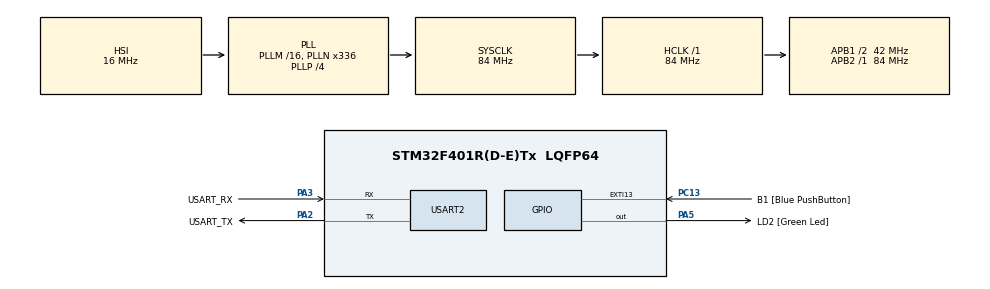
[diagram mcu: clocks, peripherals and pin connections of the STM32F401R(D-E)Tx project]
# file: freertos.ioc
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Mcu.Family=STM32F4
Mcu.Name=STM32F401R(D-E)Tx
Mcu.Package=LQFP64
NVIC.PriorityGroup=NVIC_PRIORITYGROUP_4
NVIC.TIM2_IRQn=true\:15\:0\:false\:false\:true\:false\:true\:true
NVIC.TimeBase=TIM2_IRQn
NVIC.TimeBaseIP=TIM2
NVIC.USART2_IRQn=true\:6\:0\:true\:false\:true\:true\:true\:true
PA13.GPIO_Label=TMS
PA13.Mode=Trace_Asynchronous_SW
PA13.Signal=SYS_JTMS-SWDIO
PA14.GPIO_Label=TCK
PA14.Mode=Trace_Asynchronous_SW
PA14.Signal=SYS_JTCK-SWCLK
PA2.GPIO_Label=USART_TX
PA2.GPIO_Mode=GPIO_MODE_AF_PP
PA2.GPIO_PuPd=GPIO_NOPULL
PA2.GPIO_Speed=GPIO_SPEED_FREQ_LOW
PA2.Mode=Asynchronous
PA2.Signal=USART2_TX
PA3.GPIO_Label=USART_RX
PA3.GPIO_Mode=GPIO_MODE_AF_PP
PA3.GPIO_PuPd=GPIO_NOPULL
PA3.GPIO_Speed=GPIO_SPEED_FREQ_LOW
PA3.Mode=Asynchronous
PA3.Signal=USART2_RX
PA5.GPIO_Label=LD2 [Green Led]
PA5.GPIO_Mode=GPIO_MODE_OUTPUT_PP
PA5.GPIO_PuPd=GPIO_NOPULL
PA5.GPIO_Speed=GPIO_SPEED_FREQ_LOW
PA5.Signal=GPIO_Output
PB3.GPIO_Label=SWO
PB3.Mode=Trace_Asynchronous_SW
PB3.Signal=SYS_JTDO-SWO
PC13-ANTI_TAMP.GPIO_Label=B1 [Blue PushButton]
PC13-ANTI_TAMP.GPIO_ModeDefaultEXTI=GPIO_MODE_IT_FALLING
PC13-ANTI_TAMP.GPIO_PuPd=GPIO_NOPULL
PC13-ANTI_TAMP.Signal=GPXTI13
PC14-OSC32_IN.Mode=LSE-External-Oscillator
PC14-OSC32_IN.Signal=RCC_OSC32_IN
PC15-OSC32_OUT.Mode=LSE-External-Oscillator
PC15-OSC32_OUT.Signal=RCC_OSC32_OUT
PH0\ -\ OSC_IN.Mode=HSE-External-Clock-Source
PH0\ -\ OSC_IN.Signal=RCC_OSC_IN
PH1\ -\ OSC_OUT.Mode=HSE-External-Clock-Source
PH1\ -\ OSC_OUT.Signal=RCC_OSC_OUT
ProjectManager.HeapSize=0x200
ProjectManager.StackSize=0x400
ProjectManager.TargetToolchain=CMake
RCC.48MHZClocksFreq_Value=48000000
RCC.AHBFreq_Value=84000000
RCC.APB1CLKDivider=RCC_HCLK_DIV2
RCC.APB1Freq_Value=42000000
RCC.APB1TimFreq_Value=84000000
RCC.APB2Freq_Value=84000000
RCC.APB2TimFreq_Value=84000000
RCC.CortexFreq_Value=84000000
RCC.HCLKFreq_Value=84000000
RCC.HSE_VALUE=8000000
RCC.HSI_VALUE=16000000
RCC.PLLN=336
RCC.PLLP=RCC_PLLP_DIV4
RCC.PLLQ=7
RCC.SYSCLKFreq_VALUE=84000000
RCC.SYSCLKSource=RCC_SYSCLKSOURCE_PLLCLK
RCC.VCOOutputFreq_Value=336000000
RTC.HourFormat=RTC_HOURFORMAT_12
USART2.VirtualMode=VM_ASYNC
VP_RTC_VS_RTC_Activate.Mode=RTC_Enabled
VP_SYS_VS_tim2.Mode=TIM2
board=NUCLEO-F401RE

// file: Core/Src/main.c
/* USER CODE BEGIN Header */
/**
  ******************************************************************************
  * @file           : main.c
  * @brief          : Main program body
  ******************************************************************************
  * @attention
  *
  * Copyright (c) 2025 STMicroelectronics.
  * All rights reserved.
  *
  * This software is licensed under terms that can be found in the LICENSE file
  * in the root directory of this software component.
  * If no LICENSE file comes with this software, it is provided AS-IS.
  *
  ******************************************************************************
  */
/* USER CODE END Header */
#include "main.h"

/* USER CODE BEGIN Includes */

/* USER CODE BEGIN PD */
#define DWT_CTRL    (*(volatile uint32_t*)0xE0001000)
/* USER CODE END PD */

RTC_HandleTypeDef hrtc;

UART_HandleTypeDef huart2;

void SystemClock_Config(void);
static void MX_GPIO_Init(void);
static void MX_USART2_UART_Init(void);
static void MX_RTC_Init(void);
/* USER CODE BEGIN PFP */
void LED_callback(TimerHandle_t xTimer);
/* USER CODE END PFP */

/* USER CODE BEGIN 0 */
TaskHandle_t handle_menu_task = NULL;
TaskHandle_t handle_cmd_task = NULL;
TaskHandle_t handle_print_task = NULL;
TaskHandle_t handle_LED_task = NULL;
TaskHandle_t handle_RTC_task = NULL;

QueueHandle_t xQueue1, xQueue2;
TimerHandle_t xTimers[ NUM_TIMERS ];

volatile uint8_t data;
state_t curr_state = MainMenu;
/* USER CODE END 0 */

int main(void)
{

  /* MCU Configuration--------------------------------------------------------*/

  /* Reset of all peripherals, Initializes the Flash interface and the Systick. */
  HAL_Init();

  /* Configure the system clock */
  SystemClock_Config();

  /* Initialize all configured peripherals */
  MX_GPIO_Init();
  MX_USART2_UART_Init();
  MX_RTC_Init();
  /* USER CODE BEGIN 2 */
  DWT_CTRL |= ( 1 << 0);

  UBaseType_t priority = 1;
  BaseType_t xReturned;

  SEGGER_SYSVIEW_Conf();     //used with OS integration to allow easier initialization of SystemView and the OS SystemView interface.
  SEGGER_SYSVIEW_Start();

  xReturned = xTaskCreate(menu_task,"menu_task",100,NULL,priority,&handle_menu_task);
  configASSERT (xReturned == pdPASS);
  xReturned = xTaskCreate(cmd_task,"cmd_task",100,NULL,priority,&handle_cmd_task);
  configASSERT (xReturned == pdPASS);
  xReturned = xTaskCreate(print_task,"print_task",100,NULL,priority,&handle_print_task);
  configASSERT (xReturned == pdPASS);
  xReturned = xTaskCreate(LED_task,"LED_task",100,NULL,priority,&handle_LED_task);
  configASSERT (xReturned == pdPASS);
  xReturned = xTaskCreate(RTC_task,"RTC_task",100,NULL,priority,&handle_RTC_task);
  configASSERT (xReturned == pdPASS);

  xQueue1 = xQueueCreate(10, sizeof( char ));
  configASSERT(xQueue1 != NULL);
  xQueue2 = xQueueCreate(10, sizeof(char*)); //queue to hold pointer to items
  configASSERT(xQueue2 != NULL);

  for (uint8_t i=0; i<NUM_TIMERS; i++)
  {
    xTimers[i] = xTimerCreate("LED_timer", 900*i+100, pdTRUE,(void*)(i+1), LED_callback);
  }

  HAL_UART_Receive_IT(&huart2,(uint8_t*)&data, 1);
  vTaskStartScheduler();
  /* USER CODE END 2 */

  /* Infinite loop */
  while (1)
  {
  }
}

void SystemClock_Config(void)
{
  RCC_OscInitTypeDef RCC_OscInitStruct = {0};
  RCC_ClkInitTypeDef RCC_ClkInitStruct = {0};

  /** Configure the main internal regulator output voltage
  */
  __HAL_RCC_PWR_CLK_ENABLE();
  __HAL_PWR_VOLTAGESCALING_CONFIG(PWR_REGULATOR_VOLTAGE_SCALE2);

  /** Initializes the RCC Oscillators according to the specified parameters
  * in the RCC_OscInitTypeDef structure.
  */
  RCC_OscInitStruct.OscillatorType = RCC_OSCILLATORTYPE_HSI|RCC_OSCILLATORTYPE_LSI;
  RCC_OscInitStruct.HSIState = RCC_HSI_ON;
  RCC_OscInitStruct.HSICalibrationValue = RCC_HSICALIBRATION_DEFAULT;
  RCC_OscInitStruct.LSIState = RCC_LSI_ON;
  RCC_OscInitStruct.PLL.PLLState = RCC_PLL_ON;
  RCC_OscInitStruct.PLL.PLLSource = RCC_PLLSOURCE_HSI;
  RCC_OscInitStruct.PLL.PLLM = 16;
  RCC_OscInitStruct.PLL.PLLN = 336;
  RCC_OscInitStruct.PLL.PLLP = RCC_PLLP_DIV4;
  RCC_OscInitStruct.PLL.PLLQ = 7;
  if (HAL_RCC_OscConfig(&RCC_OscInitStruct) != HAL_OK)
  {
    Error_Handler();
  }

  /** Initializes the CPU, AHB and APB buses clocks
  */
  RCC_ClkInitStruct.ClockType = RCC_CLOCKTYPE_HCLK|RCC_CLOCKTYPE_SYSCLK
                              |RCC_CLOCKTYPE_PCLK1|RCC_CLOCKTYPE_PCLK2;
  RCC_ClkInitStruct.SYSCLKSource = RCC_SYSCLKSOURCE_PLLCLK;
  RCC_ClkInitStruct.AHBCLKDivider = RCC_SYSCLK_DIV1;
  RCC_ClkInitStruct.APB1CLKDivider = RCC_HCLK_DIV2;
  RCC_ClkInitStruct.APB2CLKDivider = RCC_HCLK_DIV1;

  if (HAL_RCC_ClockConfig(&RCC_ClkInitStruct, FLASH_LATENCY_2) != HAL_OK)
  {
    Error_Handler();
  }
}

static void MX_RTC_Init(void)
{

  /** Initialize RTC Only
  */
  hrtc.Instance = RTC;
  hrtc.Init.HourFormat = RTC_HOURFORMAT_12;
  hrtc.Init.AsynchPrediv = 127;
  hrtc.Init.SynchPrediv = 255;
  hrtc.Init.OutPut = RTC_OUTPUT_DISABLE;
  hrtc.Init.OutPutPolarity = RTC_OUTPUT_POLARITY_HIGH;
  hrtc.Init.OutPutType = RTC_OUTPUT_TYPE_OPENDRAIN;
  if (HAL_RTC_Init(&hrtc) != HAL_OK)
  {
    Error_Handler();
  }

}

static void MX_USART2_UART_Init(void)
{

  huart2.Instance = USART2;
  huart2.Init.BaudRate = 115200;
  huart2.Init.WordLength = UART_WORDLENGTH_8B;
  huart2.Init.StopBits = UART_STOPBITS_1;
  huart2.Init.Parity = UART_PARITY_NONE;
  huart2.Init.Mode = UART_MODE_TX_RX;
  huart2.Init.HwFlowCtl = UART_HWCONTROL_NONE;
  huart2.Init.OverSampling = UART_OVERSAMPLING_16;
  if (HAL_UART_Init(&huart2) != HAL_OK)
  {
    Error_Handler();
  }

}

static void MX_GPIO_Init(void)
{
  GPIO_InitTypeDef GPIO_InitStruct = {0};

  /* GPIO Ports Clock Enable */
  __HAL_RCC_GPIOC_CLK_ENABLE();
  __HAL_RCC_GPIOH_CLK_ENABLE();
  __HAL_RCC_GPIOA_CLK_ENABLE();
  __HAL_RCC_GPIOB_CLK_ENABLE();

  /*Configure GPIO pin Output Level */
  HAL_GPIO_WritePin(LD2_GPIO_Port, LD2_Pin, GPIO_PIN_RESET);

  /*Configure GPIO pin : B1_Pin */
  GPIO_InitStruct.Pin = B1_Pin;
  GPIO_InitStruct.Mode = GPIO_MODE_IT_FALLING;
  GPIO_InitStruct.Pull = GPIO_NOPULL;
  HAL_GPIO_Init(B1_GPIO_Port, &GPIO_InitStruct);

  /*Configure GPIO pin : LD2_Pin */
  GPIO_InitStruct.Pin = LD2_Pin;
  GPIO_InitStruct.Mode = GPIO_MODE_OUTPUT_PP;
  GPIO_InitStruct.Pull = GPIO_NOPULL;
  GPIO_InitStruct.Speed = GPIO_SPEED_FREQ_LOW;
  HAL_GPIO_Init(LD2_GPIO_Port, &GPIO_InitStruct);

}

/* USER CODE BEGIN 4 */
int __io_putchar(int ch)
{
	HAL_UART_Transmit(&huart2, (uint8_t*)&ch, 1, HAL_MAX_DELAY);
	return ch;
}

void HAL_UART_RxCpltCallback(UART_HandleTypeDef *huart){

  uint8_t temp;

  if((xQueueIsQueueFullFromISR(xQueue1)) != pdTRUE)
  {
    xQueueSendFromISR( xQueue1, (void*)&data,NULL);
  }

  else
  {
    if(data=='\n')
    {
      xQueueReceiveFromISR(xQueue1,(void*)&temp,NULL);
      xQueueSendFromISR( xQueue1, (void*)&data, NULL );
    }
  }

  if(data =='\n')
  {
    xTaskNotifyFromISR(handle_cmd_task,0, eNoAction,NULL);
  }

  HAL_UART_Receive_IT(&huart2,(uint8_t*)&data, 1);
}

void LED_callback(TimerHandle_t xTimer){

  uint32_t id;
  id = (uint32_t)pvTimerGetTimerID( xTimer );

  switch (id)
  {
    case 1:
      LED_control_1();
    break;
    case 2:
      LED_control_2();
    break;
    default:
    break;

  }

}

/* USER CODE END 4 */

void HAL_TIM_PeriodElapsedCallback(TIM_HandleTypeDef *htim)
{
  if (htim->Instance == TIM2)
  {
    HAL_IncTick();
  }
}

void Error_Handler(void)
{
  __disable_irq();
  while (1)
  {
  }
}
